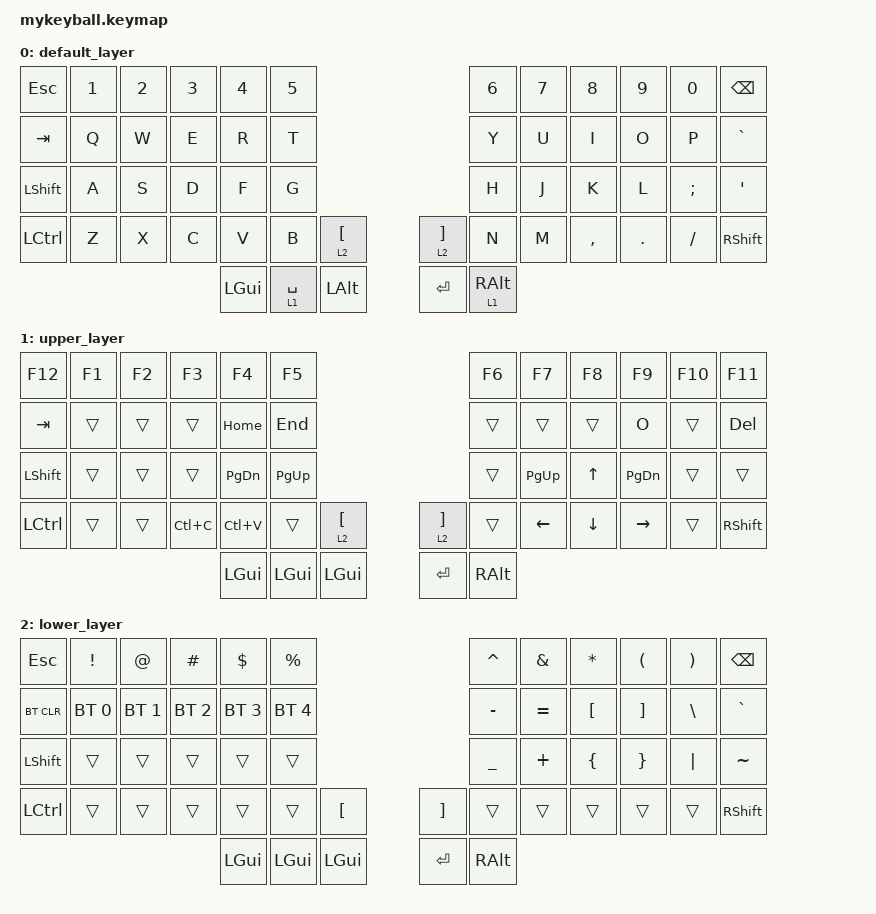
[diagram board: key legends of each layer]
 /*
 * Copyright (c) 2020 The ZMK Contributors
 *
 * SPDX-License-Identifier: MIT
 */

#include <behaviors.dtsi>
#include <dt-bindings/zmk/keys.h>
#include <dt-bindings/zmk/bt.h>
#include <dt-bindings/zmk/ext_power.h>

#define DEFAULT 0
#define UPPER 1
#define LOWER 2
#define GAME 3
#define NUM_L 1 2 3 4 5
#define NUM_R 6 7 8 9 10

#define ALPHA_L 13 14 15 16 17 \
                25 26 27 28 29 \
                37 38 39 40 41 42
#define ALPHA_R 18 19 20 21 22 \
                30 31 32 33 34 \
             43 44 45 46 47 48

#define MACRO_L 0 12 24 36
#define MACRO_R 11 23 35 49

#define THUMBS 50 51 52 53 54

/ {
    combos {
        compatible = "zmk,combos";
        // symbols
        combo_LWIN {
            timeout-ms = <50>;
            key-positions = <28 29>;
            bindings = <&kp LGUI>;
        };
    };

    behaviors {
        bhml: balanced_homerow_left {
            compatible = "zmk,behavior-hold-tap";
            #binding-cells = <2>;
            flavor = "balanced";
            tapping-term-ms = <230>;
            quick-tap-ms = <175>;                // repeat on tap-into-hold
            require-prior-idle-ms = <80>;
            bindings = <&kp>, <&kp>;
            hold-trigger-key-positions = <NUM_R ALPHA_R MACRO_R THUMBS>;    // <---[[the W key]]
            hold-trigger-on-release;
        };

        bhmr: balanced_homerow_right {
            compatible = "zmk,behavior-hold-tap";
            #binding-cells = <2>;
            flavor = "balanced";
            tapping-term-ms = <230>;
            quick-tap-ms = <175>;                // repeat on tap-into-hold
            require-prior-idle-ms = <80>;
            bindings = <&kp>, <&kp>;
            hold-trigger-key-positions = <NUM_L ALPHA_L MACRO_L THUMBS>;    // <---[[the W key]]
            hold-trigger-on-release;
        };
 
        capstd: tap_dance_caps {
            compatible = "zmk,behavior-tap-dance";
            #binding-cells = <0>;
            tapping-term-ms = <180>;
            bindings = <&caps_word>, <&kp CAPS>;
        };

        alttabtd: tap_dance_alttab {
            compatible = "zmk,behavior-tap-dance";
            #binding-cells = <0>;
            tapping-term-ms = <180>;
            bindings = <&kp TAB>, <&kp LA(TAB)>;
        };
    };

    keymap {
        compatible = "zmk,keymap";
 
        default_layer {
// ------------------------------------------------------------------------------------------------------------
// |  ESC  |  1  |  2  |  3   |  4   |  5   |                   |  6   |  7    |  8    |  9   |   0   |  DEL  |
// |  TAB  |  Q  |  W  |  E   |  R   |  T   |                   |  Y   |  U    |  I    |  O   |   P   |   `   |
// | SHIFT |  A  |  S  |  D   |  F   |  G   |                   |  H   |  J    |  K    |  L   |   ;   |   '   |
// |  CTRL |  Z  |  X  |  C   |  V   |  B   |   "["  |  |  "]"  |  N   |  M    |  ,    |  .   |   /   | SHIFT |
//                            | LALT | LOWER|  SPACE |  | ENTER | RALT | 

            bindings = <
&kp ESC    &kp N1  &kp N2  &kp N3   &kp N4     &kp N5                     /**/              &kp N6   &kp N7  &kp N8     &kp N9   &kp N0    &kp BSPC
&kp TAB    &kp Q   &kp W   &kp E    &kp R      &kp T                      /**/              &kp Y    &kp U   &kp I      &kp O    &kp P     &kp GRAVE
&kp LSHIFT &kp A   &kp S   &kp D    &kp F      &kp G                      /**/              &kp H    &kp J   &kp K      &kp L    &kp SEMI  &kp SQT
&kp LCTRL  &kp Z   &kp X   &kp C    &kp V      &kp B        &lt 2 LBKT    /**/   &lt 2 RBKT &kp N    &kp M   &kp COMMA  &kp DOT  &kp FSLH  &kp RSHIFT
                                     &kp LGUI  &lt 1 SPACE  &kp LALT      /**/   &kp RET    &lt 1 RALT                         
            >;
        };

// ------------------------------------------------------------------------------------------------------------
// |  F12  | F1  | F2  | F3   | F4   | F5   |                   | F6   | F7    | F8    | F9   |  F10  |  F11  |
// |  TAB  |     |     |      | HOME | END  |                   |      |       |  UP   |      |       |       |
// | SHIFT |     |     |      | PGDN | PGUP |                   |      |  LEFT |  DWN  | RGT  |       |       |
// |  CTRL |     |     |LC(C) |LC(V) |      |   "["  |  |  "]"  |      |  LCLK | SCLK  | RCLK |       | SHIFT |
//                            | LGUI | LGUI |  LGUI  |  | ENTER | RALT |
//&mkp LCLK  &mkp SCLK  &mkp RCLK
        upper_layer {
            bindings = <
&kp F12    &kp F1     &kp F2      &kp F3     &kp F4          &kp F5               /**/             &kp F6   &kp F7     &kp F8    &kp F9     &kp F10   &kp F11
&kp TAB    &trans     &trans      &trans     &kp HOME        &kp END              /**/             &trans   &trans     &trans    &kp O      &trans    &kp DEL
&kp LSHIFT &trans     &trans      &trans     &kp PAGE_DOWN   &kp PAGE_UP          /**/             &trans   &kp PG_UP  &kp UP    &kp PG_DN  &trans    &trans
&kp LCTRL  &trans     &trans      &kp LC(C)  &kp LC(V)       &trans   &lt 2 LBKT  /**/  &lt 2 RBKT &trans   &kp LEFT   &kp DOWN  &kp RIGHT  &trans    &kp RSHIFT 
                                             &kp LGUI        &kp LGUI &kp LGUI    /**/  &kp RET    &kp RALT                            
            >;
        };

// ------------------------------------------------------------------------------------------------------------
// |  ESC  |  !  |  @  |  #   |  $   |  %   |                   |  ^   |  &    |  *    |  (   |  )    |  BKSP |
// | BTCLR | BT1 | BT2 | BT3  | BT4  | BT5  |                   |  -   |  =    |  [    |  ]   |  \    |  `    | 
// | SHIFT |     |     |      |      |      |                   |  _   |  +    |  {    |  }   | "|"   |  ~    | 
// |  CTRL |     |     |      |      |      |   "["  |  |  "]"  |      |       |       |      |       | SHIFT |
//                            | LALT | LOWER|  SPACE |  | ENTER | RALT |
//| BTCLR| BT1 | BT2 | BT3 | BT4 | BT5 
//&bt BT_CLR &bt BT_SEL 0 &bt BT_SEL 1 &bt BT_SEL 2 &bt BT_SEL 3 &bt BT_SEL 4

        lower_layer {
            bindings = <
&kp ESC    &kp EXCL     &kp AT       &kp HASH     &kp DLLR     &kp PRCNT           /**/           &kp CARET &kp AMPS      &kp ASTRK     &kp LPAR    &kp RPAR &kp BSPC 
&bt BT_CLR &bt BT_SEL 0 &bt BT_SEL 1 &bt BT_SEL 2 &bt BT_SEL 3 &bt BT_SEL 4        /**/           &kp MINUS &kp EQUAL     &kp LBKT      &kp RBKT    &kp BSLH &kp GRAVE
&kp LSHIFT &trans       &trans       &trans       &trans       &trans              /**/           &kp UNDER &kp PLUS      &kp LBRC      &kp RBRC    &kp PIPE &kp TILDE
&kp LCTRL  &trans       &trans       &trans       &trans       &trans    &kp LBKT  /**/  &kp RBKT &trans    &trans        &trans        &trans      &trans   &kp RSHIFT
                                                  &kp LGUI     &kp LGUI  &kp LGUI  /**/  &kp RET &kp RALT                             
            >;
        };
    };
};
